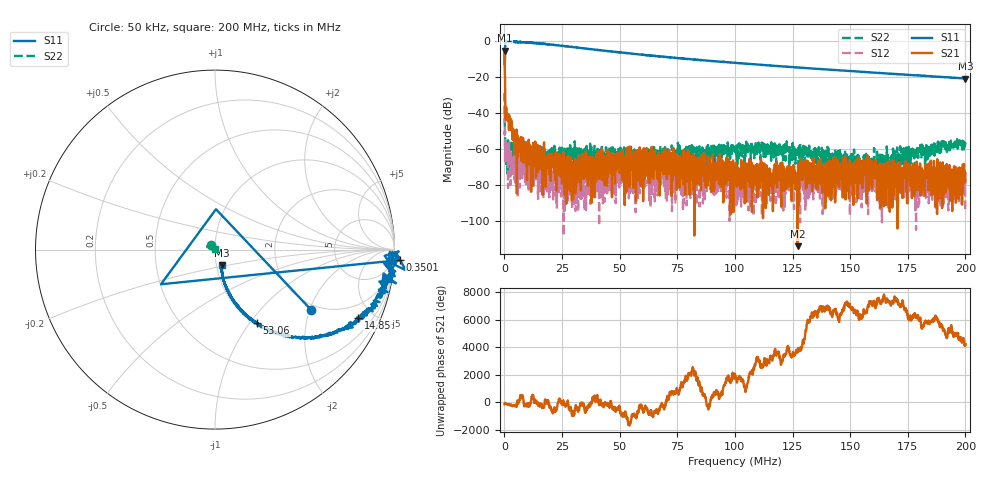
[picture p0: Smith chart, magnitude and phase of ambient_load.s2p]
! 23-Mar-26 11:47:15 AM
! E:\UPDATEDVNAMEASUREMENTS\CAL_S11S\AMBIENT_LOAD.S2P
! CHANNEL.1
! TR.MEASUREMENT
! CORRECTED.DATA
# GHZ S RI R 50.0
! FREQ.GHZ  S11RE  S11IM  S21RE  S21IM  S12RE  S12IM  S22RE  S22IM
!; PortSelection: Port_12
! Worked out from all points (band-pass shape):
!   2000 points, 50 kHz to 200 MHz, reference 50 ohm
!   highest |S21| = -5.12 dB at 50 kHz (marker M1); lowest = -113.9 dB at 127.2 MHz (marker M2)
!   |S21| within 3 dB of the highest: start of sweep to 73.47 kHz
!   lowest |S11| = -20.6 dB at 200 MHz (marker M3), VSWR 1.21, Z = 53.1 - j9.11 ohm
!   |S11| at or under -10 dB: 117.1 kHz to 223.4 kHz (106.4 kHz wide, 62.5 % of centre); 82.11645 MHz to 82.32053 MHz (204.1 kHz wide, 0.248 % of centre); 82.41 MHz to end of sweep (the widest 3 of 4)
!   |S22| runs from -90.3 to -28.7 dB; largest |S21 - S12| = 0.55
!   S11 on the Smith chart (normalised r, x): 50 kHz: 1.83, -2.04; 350.1 kHz: -15, -27; 14.85 MHz: 1.17, -4.08; 53.06 MHz: 1.03, -1.09; 200 MHz: 1.06, -0.18
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5e-05  0.5355 -0.3356  -0.5291 -0.1672  -0.00809 -0.00502  -0.0232 0.0284
0.000350075  1.03 -0.0582  -0.00214 -0.0106  0.00087 0.00138  -0.000496 -0.000387
0.001350325  0.9907 -0.0794  -0.00761 -0.00365  0.000343 -0.00065  0.000168 -0.000257
0.005251301  0.9307 -0.1971  0.000343 0.00354  0.000511 0.000179  0.00122 0.00142
0.0148537  0.7965 -0.3825  -0.000563 -0.000638  1.73e-05 -0.000173  0.000748 0.000704
0.02895723  0.5098 -0.4882  4.89e-05 0.000196  4.82e-05 4.78e-05  -3.61e-05 0.000513
0.03345835  0.4392 -0.4885  -0.000475 -0.000377  3.57e-05 7.25e-05  0.000635 0.000721
0.04916228  0.2638 -0.4287  -0.000281 8.06e-05  0.000176 8e-07  -0.000145 0.000317
0.05306326  0.2346 -0.4109  -4.81e-05 -4.63e-05  -2.84e-05 -0.000318  0.000601 0.000793
0.06676668  0.1593 -0.3537  3.29e-05 -0.000524  0.000115 0.000268  0.000845 1.39e-05
0.100075  0.0781 -0.2442  -0.000265 -0.000102  7.87e-05 9.05e-05  0.000634 0.000697
0.1271818  0.0513 -0.1817  1.7e-06 1.1e-06  -0.000118 2.8e-05  0.00026 0.000883
0.1289822  0.0506 -0.1791  0.000173 0.000122  6.19e-05 0.000198  -6.12e-05 0.000648
0.1333833  0.0485 -0.1711  9.39e-05 0.00015  -7.35e-05 -0.000104  -0.000101 0.000541
0.1503876  0.042 -0.1443  9.18e-05 -6.4e-05  -9.33e-05 -0.000155  -0.000202 -1.09e-05
0.1566892  0.0406 -0.1358  0.000141 0.000445  -9.12e-05 -4.42e-05  0.000211 0.000484
0.1633908  0.0387 -0.1268  0.000157 -7.34e-05  -4.72e-05 7.21e-05  0.0002 -8.96e-05
0.1666917  0.0382 -0.1223  -0.000126 0.000447  -0.000173 -0.000104  0.000105 1.41e-05
0.1693923  0.0379 -0.1189  0.000131 -9.41e-05  -9.26e-05 2.02e-05  0.00086 -8.3e-05
0.1796949  0.0381 -0.1066  0.000111 -4e-06  8.5e-06 0.000192  0.000913 0.000283
0.1977994  0.0383 -0.0874  -0.000237 -0.000174  0.000136 1.38e-05  0.0015 0.001
0.2  0.0377 -0.085  -3.44e-05 -0.000213  -1.82e-05 2.9e-06  0.00125 0.000922
